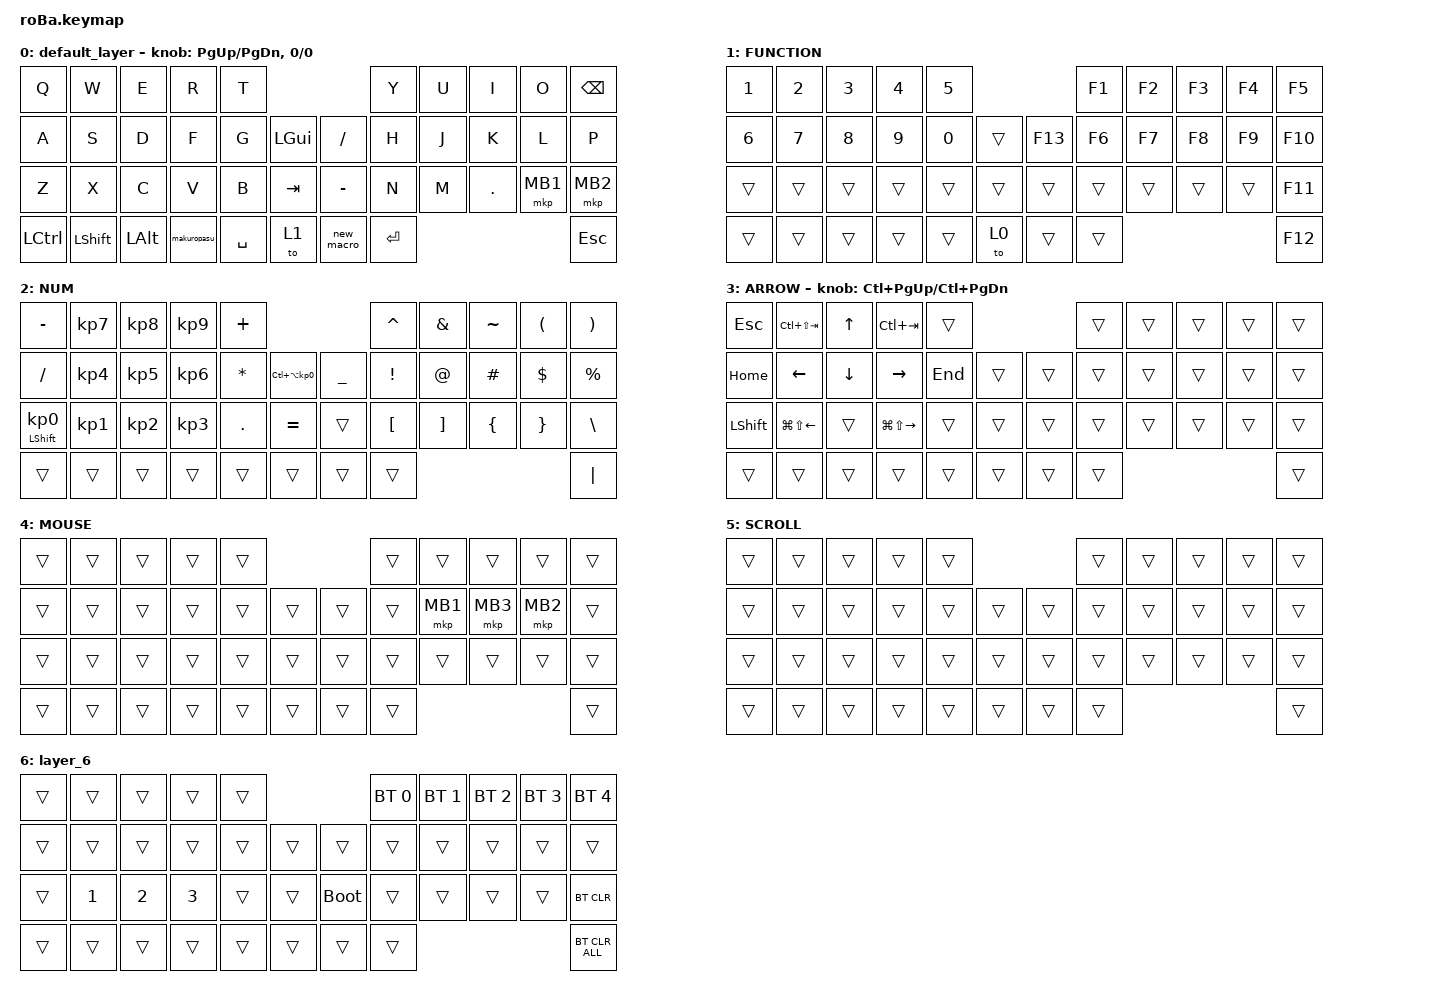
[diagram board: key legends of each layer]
#include <behaviors.dtsi>
#include <dt-bindings/zmk/bt.h>
#include <dt-bindings/zmk/keys.h>
#include <dt-bindings/zmk/pointing.h>

&mt {
    flavor = "balanced";
    quick-tap-ms = <0>;
};

&trackball {
    automouse-layer = <4>;
    scroll-layers = <5>;

    // arrows {
    //     layers = <3>;
    //     bindings =
    //         <&kp RIGHT_ARROW>,
    //         <&kp LEFT_ARROW>,
    //         <&kp UP_ARROW>,
    //         <&kp DOWN_ARROW>;
    //     tick = <10>;
    //     wait-ms = <5>;
    //     tap-ms = <5>;
    // };
};

/ {
    combos {
        compatible = "zmk,combos";

        tab {
            bindings = <&kp TAB>;
            key-positions = <11 12>;
        };

        shift_tab {
            bindings = <&kp LS(TAB)>;
            key-positions = <12 13>;
        };

        muhennkann {
            bindings = <&makuropasu INT_MUHENKAN>;
            key-positions = <11 10>;
        };

        double_quotation {
            bindings = <&kp DOUBLE_QUOTES>;
            key-positions = <20 21>;
        };

        eq {
            bindings = <&kp EQUAL>;
            key-positions = <24 25>;
        };
    };

    macros {
        makuropasu: to_layer_0 {
            compatible = "zmk,behavior-macro";
            #binding-cells = <0>;
            bindings =
                <&macro_tap>,
                <&kp MACRO_PLACEHOLDER &kp A &kp D &kp G &kp J &kp M &kp P &kp T &kp W &kp N6 &kp N2 &kp N3>;

            label = "TO_LAYER_0";
        };

        new_macro: new_macro {
            compatible = "zmk,behavior-macro";
            #binding-cells = <0>;
            bindings = <&macro_tap>, <&kp LS(CLCK)>;

            label = "NEW_MACRO";
        };
    };

    behaviors {
        lt_to_layer_0: lt_to_layer_0 {
            compatible = "zmk,behavior-hold-tap";
            label = "LAYER_TAP_TO_0";
            bindings = <&mo>, <&makuropasu>;

            #binding-cells = <2>;
            tapping-term-ms = <200>;
        };
    };

    keymap {
        compatible = "zmk,keymap";

        default_layer {
            bindings = <
&kp Q      &kp W           &kp E         &kp R        &kp T                                    &kp Y      &kp U  &kp I       &kp O     &kp BACKSPACE
&kp A      &kp S           &kp D         &kp F        &kp G      &kp LEFT_GUI      &kp SLASH   &kp H      &kp J  &kp K       &kp L     &kp P
&kp Z      &kp X           &kp C         &kp V        &kp B      &kp TAB           &kp MINUS   &kp N      &kp M  &kp PERIOD  &mkp MB1  &mkp MB2
&kp LCTRL  &kp LEFT_SHIFT  &kp LEFT_ALT  &makuropasu  &kp SPACE  &to 1             &new_macro  &kp ENTER                               &kp ESC
            >;

            sensor-bindings = <&inc_dec_kp PG_UP PAGE_DOWN>, <&inc_dec_kp 0 0>;
        };

        FUNCTION {
            bindings = <
&kp N1  &kp N2  &kp N3  &kp N4  &kp N5                       &kp F1  &kp F2  &kp F3  &kp F4  &kp F5
&kp N6  &kp N7  &kp N8  &kp N9  &kp N0  &trans      &kp F13  &kp F6  &kp F7  &kp F8  &kp F9  &kp F10
&trans  &trans  &trans  &trans  &trans  &trans      &trans   &trans  &trans  &trans  &trans  &kp F11
&trans  &trans  &trans  &trans  &trans  &to 0       &trans   &trans                          &kp F12
            >;
        };

        NUM {
            bindings = <
&kp MINUS                   &kp KP_NUMBER_7  &kp KP_NUMBER_8  &kp KP_NUMBER_9  &kp PLUS                                                   &kp CARET         &kp AMPERSAND      &kp TILDE       &kp LEFT_PARENTHESIS  &kp RIGHT_PARENTHESIS
&kp SLASH                   &kp KP_NUMBER_4  &kp KP_NUMBER_5  &kp KP_NUMBER_6  &kp ASTERISK  &kp LC(LA(KP_NUMBER_0))      &kp UNDERSCORE  &kp EXCLAMATION   &kp AT_SIGN        &kp HASH        &kp DOLLAR            &kp PERCENT
&mt LEFT_SHIFT KP_NUMBER_0  &kp KP_NUMBER_1  &kp KP_NUMBER_2  &kp KP_NUMBER_3  &kp PERIOD    &kp EQUAL                    &trans          &kp LEFT_BRACKET  &kp RIGHT_BRACKET  &kp LEFT_BRACE  &kp RIGHT_BRACE       &kp BACKSLASH
&trans                      &trans           &trans           &trans           &trans        &trans                       &trans          &trans                                                                     &kp PIPE
            >;
        };

        ARROW {
            bindings = <
&kp ESCAPE      &kp LC(LS(TAB))         &kp UP_ARROW    &kp LC(TAB)              &trans                       &trans  &trans  &trans  &trans  &trans
&kp HOME        &kp LEFT_ARROW          &kp DOWN_ARROW  &kp RIGHT_ARROW          &kp END  &trans      &trans  &trans  &trans  &trans  &trans  &trans
&kp LEFT_SHIFT  &kp LG(LS(LEFT_ARROW))  &trans          &kp LG(LS(RIGHT_ARROW))  &trans   &trans      &trans  &trans  &trans  &trans  &trans  &trans
&trans          &trans                  &trans          &trans                   &trans   &trans      &trans  &trans                          &trans
            >;

            sensor-bindings = <&inc_dec_kp LC(PAGE_UP) LC(PAGE_DOWN)>;
        };

        MOUSE {
            bindings = <
&trans  &trans  &trans  &trans  &trans                      &trans  &trans    &trans    &trans    &trans
&trans  &trans  &trans  &trans  &trans  &trans      &trans  &trans  &mkp MB1  &mkp MB3  &mkp MB2  &trans
&trans  &trans  &trans  &trans  &trans  &trans      &trans  &trans  &trans    &trans    &trans    &trans
&trans  &trans  &trans  &trans  &trans  &trans      &trans  &trans                                &trans
            >;
        };

        SCROLL {
            bindings = <
&trans  &trans  &trans  &trans  &trans                      &trans  &trans  &trans  &trans  &trans
&trans  &trans  &trans  &trans  &trans  &trans      &trans  &trans  &trans  &trans  &trans  &trans
&trans  &trans  &trans  &trans  &trans  &trans      &trans  &trans  &trans  &trans  &trans  &trans
&trans  &trans  &trans  &trans  &trans  &trans      &trans  &trans                          &trans
            >;
        };

        layer_6 {
            bindings = <
&trans  &trans        &trans        &trans        &trans                           &bt BT_SEL 0  &bt BT_SEL 1  &bt BT_SEL 2  &bt BT_SEL 3  &bt BT_SEL 4
&trans  &trans        &trans        &trans        &trans  &trans      &trans       &trans        &trans        &trans        &trans        &trans
&trans  &kp NUMBER_1  &kp NUMBER_2  &kp NUMBER_3  &trans  &trans      &bootloader  &trans        &trans        &trans        &trans        &bt BT_CLR
&trans  &trans        &trans        &trans        &trans  &trans      &trans       &trans                                                  &bt BT_CLR_ALL
            >;
        };
    };
};
